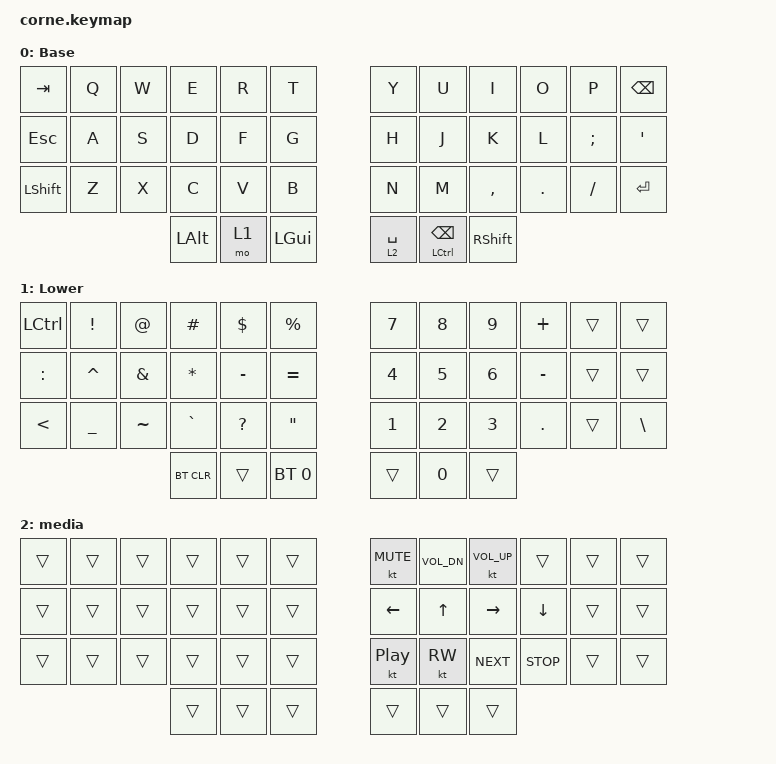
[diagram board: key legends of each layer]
/*
 * Copyright (c) 2020 The ZMK Contributors
 *
 * SPDX-License-Identifier: MIT
 */

#include <behaviors.dtsi>
#include <dt-bindings/zmk/bt.h>
#include <dt-bindings/zmk/keys.h>

/ {
    combos {
        compatible = "zmk,combos";

        left_parens {
            bindings = <&kp LPAR>;
            key-positions = <4 5>;
        };

        left_bracket {
            bindings = <&kp LBKT>;
            key-positions = <16 17>;
        };

        left_curly_brace {
            bindings = <&kp LBRC>;
            key-positions = <28 29>;
        };

        right_parens {
            bindings = <&kp RPAR>;
            key-positions = <6 7>;
        };

        right_bracket {
            bindings = <&kp RIGHT_BRACKET>;
            key-positions = <18 19>;
        };

        right_curly_brace {
            bindings = <&kp RBRC>;
            key-positions = <30 31>;
        };

        escape {
            bindings = <&kp ESC>;
            key-positions = <19 20>;
        };

        tilde {
            bindings = <&kp TILDE>;
            key-positions = <21 22>;
        };

        backslash {
            bindings = <&kp LS(BACKSLASH)>;
            key-positions = <33 34>;
        };

        grave_accent {
            bindings = <&kp GRAVE>;
            key-positions = <22 23>;
        };

        pipe {
            bindings = <&kp PIPE>;
            key-positions = <34 35>;
        };

        left_control {
            bindings = <&mt LCTRL BACKSPACE>;
            key-positions = <40>;
        };
    };

    keymap {
        compatible = "zmk,keymap";

        default_layer {
            // -----------------------------------------------------------------------------------------
            // |  TAB |  Q  |  W  |  E  |  R  |  T  |   |  Y  |  U   |  I  |  O  |  P  | BKSP |
            // | CTRL |  A  |  S  |  D  |  F  |  G  |   |  H  |  J   |  K  |  L  |  ;  |  '   |
            // | SHFT |  Z  |  X  |  C  |  V  |  B  |   |  N  |  M   |  ,  |  .  |  /  | ESC  |
            //                    | GUI | LWR | SPC |   | ENT | RSE  | ALT |

            display-name = "Base";
            bindings = <
&kp TAB    &kp Q  &kp W  &kp E     &kp R  &kp T       &kp Y        &kp U                &kp I      &kp O    &kp P     &kp BSPC
&kp ESC    &kp A  &kp S  &kp D     &kp F  &kp G       &kp H        &kp J                &kp K      &kp L    &kp SEMI  &kp SQT
&kp LSHFT  &kp Z  &kp X  &kp C     &kp V  &kp B       &kp N        &kp M                &kp COMMA  &kp DOT  &kp FSLH  &kp RET
                         &kp LALT  &mo 1  &kp LGUI    &lt 2 SPACE  &mt LCTRL BACKSPACE  &kp RSHFT
            >;
        };

        symbols {
            // -----------------------------------------------------------------------------------------
            // |  TAB |  1  |  2  |  3  |  4  |  5  |   |  6  |  7  |  8  |  9  |  0  | BKSP |
            // | BTCLR| BT1 | BT2 | BT3 | BT4 | BT5 |   | LFT | DWN |  UP | RGT |     |      |
            // | SHFT |     |     |     |     |     |   |     |     |     |     |     |      |
            //                    | GUI |     | SPC |   | ENT |     | ALT |

            display-name = "Lower";
            bindings = <
&kp LCTRL  &kp EXCLAMATION  &kp AT         &kp HASH    &kp DOLLAR    &kp PERCENT          &kp N7  &kp N8  &kp N9  &kp PLUS    &trans  &trans
&kp COLON  &kp CARET        &kp AMPERSAND  &kp ASTRK   &kp MINUS     &kp EQUAL            &kp N4  &kp N5  &kp N6  &kp MINUS   &trans  &trans
&kp LT     &kp UNDER        &kp TILDE      &kp GRAVE   &kp QUESTION  &kp DOUBLE_QUOTES    &kp N1  &kp N2  &kp N3  &kp PERIOD  &trans  &kp BSLH
                                           &bt BT_CLR  &trans        &bt BT_SEL 0         &trans  &kp N0  &trans
            >;
        };

        media {
            bindings = <
&trans  &trans  &trans  &trans  &trans  &trans    &kt K_MUTE  &kp C_VOL_DN  &kt C_VOL_UP  &trans      &trans  &trans
&trans  &trans  &trans  &trans  &trans  &trans    &kp LEFT    &kp UP        &kp RIGHT     &kp DOWN    &trans  &trans
&trans  &trans  &trans  &trans  &trans  &trans    &kt C_PP    &kt C_RW      &kp C_NEXT    &kp C_STOP  &trans  &trans
                        &trans  &trans  &trans    &trans      &trans        &trans
            >;
        };
    };
};
